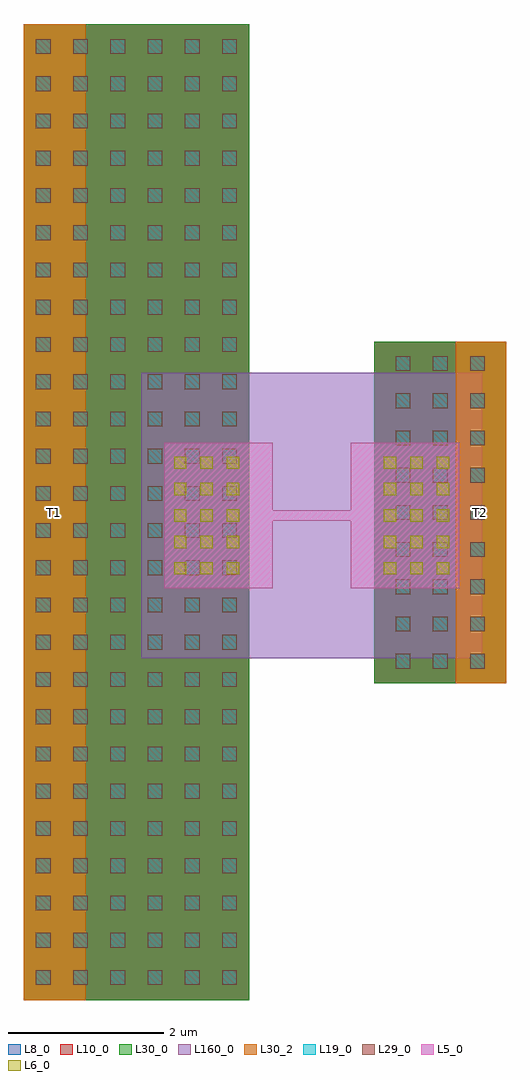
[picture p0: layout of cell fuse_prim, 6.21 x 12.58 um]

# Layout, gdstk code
import gdstk
lib = gdstk.Library(unit=1e-6, precision=1e-09)
def R(c, l, rs):  # rectangles x0, y0, x1, y1
    for r in rs: c.add(gdstk.rectangle(r[:2], r[2:], *l))
def A(c, l, x, y, w, h, nx, ny, dx, dy):  # array of equal rectangles
    R(c, l, [(x+i*dx, y+j*dy, x+i*dx+w, y+j*dy+h) for i in range(nx) for j in range(ny)])
L5_0 = (5, 0)
L6_0 = (6, 0)
L8_0 = (8, 0)
L10_0 = (10, 0)
L19_0 = (19, 0)
L29_0 = (29, 0)
L30_0 = (30, 0)
L30_2 = (30, 2)
L160_0 = (160, 0)

fuse_prim = lib.new_cell('fuse_prim')
R(fuse_prim, L5_0, [(-1.12,-0.07,0.28,0.8), (1.28,-0.07,2.68,0.8), (-1.12,0.8,2.68,0.94), (-1.12,0.94,0.28,1.81), (1.28,0.94,2.68,1.81)])
A(fuse_prim, L6_0, -0.995, 0.11, 0.16, 0.16, 3, 5, 0.34, 0.34)
A(fuse_prim, L6_0, 1.71, 0.11, 0.16, 0.16, 3, 5, 0.34, 0.34)
R(fuse_prim, L8_0, [(-2.93,-5.375,-0.025,7.205), (1.585,-1.29,3.285,3.11)])
R(fuse_prim, L10_0, [(-2.93,-5.375,-0.025,7.205), (1.585,-1.29,3.285,3.11)])
A(fuse_prim, L19_0, -2.775, -5.18, 0.19, 0.19, 6, 26, 0.48, 0.48)
A(fuse_prim, L19_0, 1.86, -1.105, 0.19, 0.19, 3, 9, 0.48, 0.48)
A(fuse_prim, L29_0, -2.775, -5.18, 0.19, 0.19, 6, 26, 0.48, 0.48)
A(fuse_prim, L29_0, 1.86, -1.105, 0.19, 0.19, 3, 9, 0.48, 0.48)
R(fuse_prim, L30_0, [(-2.93,-5.375,-0.025,7.205), (1.585,-1.29,3.285,3.11)])
R(fuse_prim, L30_2, [(-2.93,-5.375,-2.135,7.205), (2.635,-1.29,3.285,3.11)])
R(fuse_prim, L160_0, [(-1.42,-0.97,2.98,2.71)])
fuse_prim.add(gdstk.Label('T1', (-2.532,0.915), layer=30, texttype=25))
fuse_prim.add(gdstk.Label('T2', (2.96,0.91), layer=30, texttype=25))

lib.write_gds('fuse_prim.gds')
